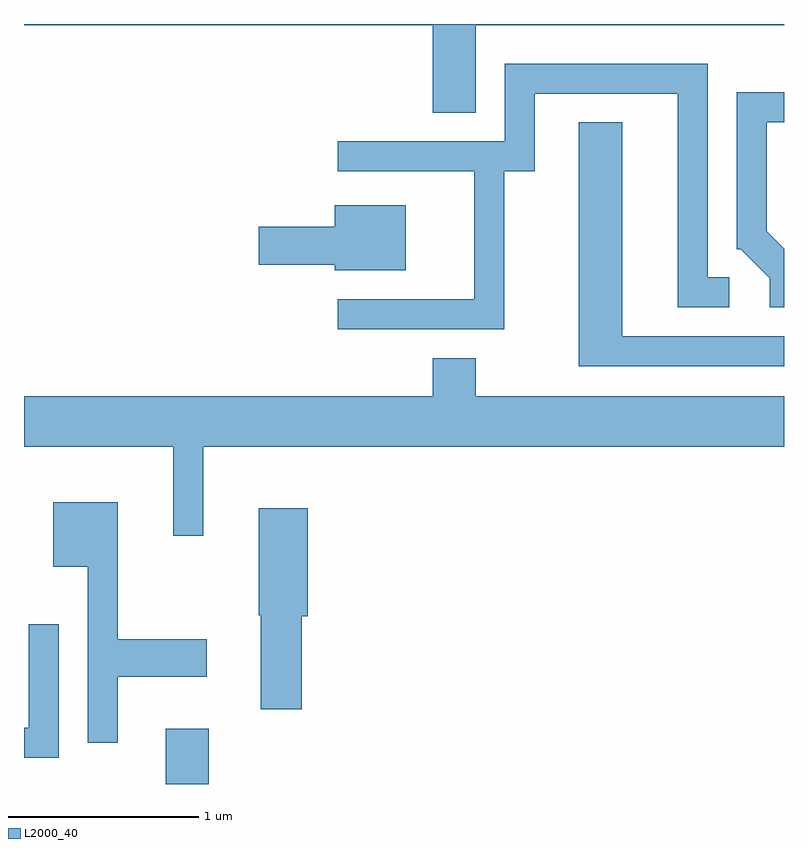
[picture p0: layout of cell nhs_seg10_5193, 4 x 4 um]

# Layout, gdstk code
import gdstk
lib = gdstk.Library(unit=1e-6, precision=1e-09)
def R(c, l, rs):  # rectangles x0, y0, x1, y1
    for r in rs: c.add(gdstk.rectangle(r[:2], r[2:], *l))
def P(c, l, *ps):  # polygons
    for p in ps: c.add(gdstk.Polygon(p, *l))
L2000_40 = (2000, 40)

nhs_seg10_5193 = lib.new_cell('nhs_seg10_5193')
R(nhs_seg10_5193, L2000_40, [(338.356,2176.522,338.584,2176.814)])
P(nhs_seg10_5193, L2000_40, [(339.989,2180.516),(341.611,2180.516),(341.611,2180.522),(337.611,2180.522),(337.611,2180.516),(339.761,2180.516),(339.761,2180.056),(339.989,2180.056)],
  [(340.139,2179.746),(340.299,2179.746),(340.299,2180.156),(341.051,2180.156),(341.051,2179.031),(341.323,2179.031),(341.323,2179.189),(341.209,2179.189),(341.209,2180.314),(340.141,2180.314),(340.141,2179.904),(339.263,2179.904),(339.263,2179.746),(339.981,2179.746),(339.981,2179.074),(339.263,2179.074),(339.263,2178.916),(340.139,2178.916)],
  [(341.611,2179.34),(341.519,2179.432),(341.519,2180.006),(341.611,2180.006),(341.611,2180.164),(341.361,2180.164),(341.361,2179.336),(341.384,2179.336),(341.536,2179.184),(341.536,2179.031),(341.611,2179.031)],
  [(341.611,2178.879),(340.759,2178.879),(340.759,2180.004),(340.531,2180.004),(340.531,2178.721),(341.611,2178.721)],
  [(339.619,2179.569),(339.246,2179.569),(339.246,2179.454),(338.846,2179.454),(338.846,2179.256),(339.246,2179.256),(339.246,2179.226),(339.619,2179.226)],
  [(338.554,2178.296),(341.611,2178.296),(341.611,2178.564),(339.989,2178.564),(339.989,2178.764),(339.761,2178.764),(339.761,2178.564),(337.611,2178.564),(337.611,2178.296),(338.396,2178.296),(338.396,2177.828),(338.554,2177.828)],
  [(338.104,2177.086),(338.574,2177.086),(338.574,2177.284),(338.104,2177.284),(338.104,2178.004),(337.766,2178.004),(337.766,2177.666),(337.946,2177.666),(337.946,2176.738),(338.104,2176.738)],
  [(339.074,2177.406),(339.104,2177.406),(339.104,2177.974),(338.846,2177.974),(338.846,2177.41),(338.856,2177.41),(338.856,2176.916),(339.074,2176.916)],
  [(337.794,2177.363),(337.636,2177.363),(337.636,2176.819),(337.611,2176.819),(337.611,2176.661),(337.794,2176.661)])

lib.write_gds('nhs_seg10_5193.gds')
